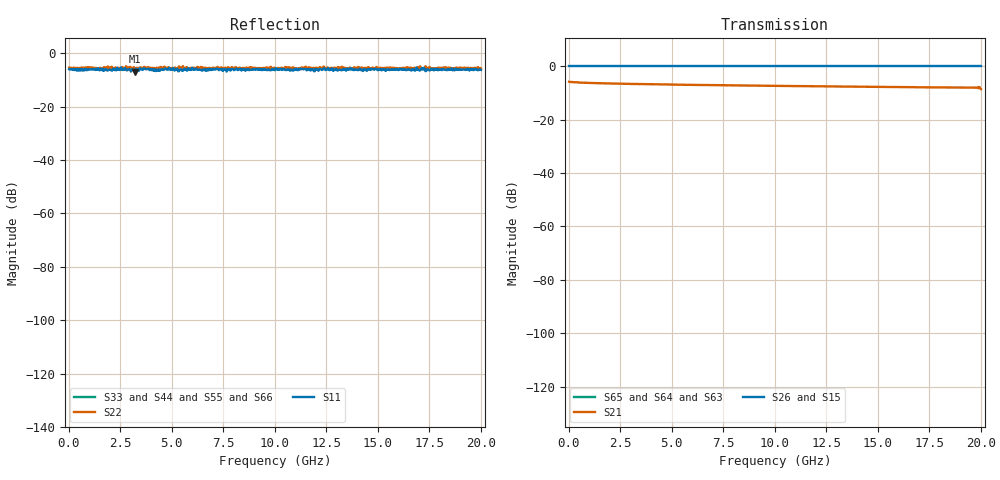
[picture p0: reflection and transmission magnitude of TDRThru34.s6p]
! File created by SignalIntegrity v1.3.3: Signal and Power Integrity Tools
! https://github.com/TeledyneLeCroy/SignalIntegrity
# MHz S MA R 50.0
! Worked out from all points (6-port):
!   1000 points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, 20 MHz to 20 GHz, reference 50 ohm
!   strongest paths, dB at 20 MHz, 5.02 GHz, 10.02 GHz, 15.02 GHz, 20 GHz:
!     S26: 0.0, 0.0, 0.0, 0.0, 0.0
!     S15: 0.0, 0.0, 0.0, 0.0, 0.0
!     S21: -5.8, -6.9, -7.4, -7.8, -8.6
!     S65: -, -, -, -, -
!     S64: -, -, -, -, -
!     S63: -, -, -, -, -
!   lowest |S11| = -6.9 dB at 3.2 GHz (marker M1), VSWR 2.64, Z = 132 - j1.78 ohm
!   |S11| at or under -10 dB: nowhere
